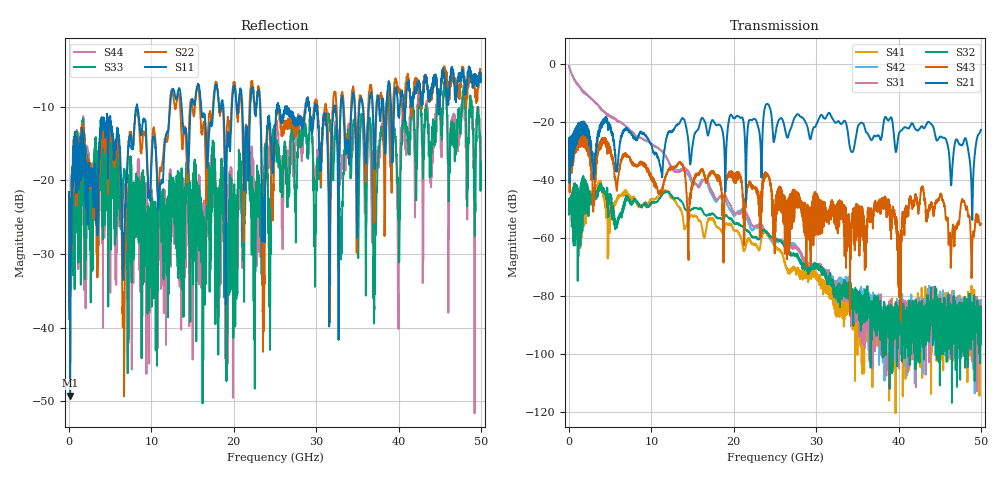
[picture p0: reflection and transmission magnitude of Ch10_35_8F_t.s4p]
!Agilent Technologies,N5247A,US51170199,A.09.90.13
!Agilent N5247A: A.09.90.13
!Date: Wednesday, December 16, 2015 12:31:24
!Correction: S11(Full 4 Port(1,2,3,4))
!S12(Full 4 Port(1,2,3,4))
!S13(Full 4 Port(1,2,3,4))
!S14(Full 4 Port(1,2,3,4))
!S21(Full 4 Port(1,2,3,4))
!S22(Full 4 Port(1,2,3,4))
!S23(Full 4 Port(1,2,3,4))
!S24(Full 4 Port(1,2,3,4))
!S31(Full 4 Port(1,2,3,4))
!S32(Full 4 Port(1,2,3,4))
!S33(Full 4 Port(1,2,3,4))
!S34(Full 4 Port(1,2,3,4))
!S41(Full 4 Port(1,2,3,4))
!S42(Full 4 Port(1,2,3,4))
!S43(Full 4 Port(1,2,3,4))
!S44(Full 4 Port(1,2,3,4))
!S4P File: Measurements: <S11,S12,S13,S14>,
!<S21,S22,S23,S24>,
!<S31,S32,S33,S34>,
!<S41,S42,S43,S44>:
# Hz S  dB  R 50
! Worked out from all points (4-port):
!   3201 points, 10 MHz to 50 GHz, reference 50 ohm
!   strongest paths, dB at 10 MHz, 12.51 GHz, 25 GHz, 37.5 GHz, 50 GHz:
!     S21: -32.5, -23.4, -25.2, -24.7, -22.8
!     S43: -32.8, -35.5, -48.9, -48.5, -55.2
!     S32: -52.0, -45.7, -60.4, -90.5, -88.7
!     S31: -0.9, -36.2, -60.9, -82.0, -93.0
!     S42: -0.9, -35.8, -61.0, -83.9, -81.5
!     S41: -52.0, -46.3, -62.9, -83.2, -90.3
!   lowest |S11| = -49.2 dB at 135 MHz (marker M1), VSWR 1.01, Z = 49.8 + j0.307 ohm
!   |S11| at or under -10 dB: start of sweep to 8.229 GHz; 8.28 GHz to 12.26 GHz (3.985 GHz wide, 38.8 % of centre); 26.46 GHz to 28.7 GHz (2.239 GHz wide, 8.12 % of centre)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
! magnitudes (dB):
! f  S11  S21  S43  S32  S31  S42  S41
! 10 MHz  -21.6  -32.5  -32.8  -52.0  -0.9  -0.9  -52.0
! 135 MHz  -49.2  -32.8  -34.0  -46.9  -2.1  -2.1  -47.0
! 11.84 GHz  -13.6  -25.7  -37.9  -44.3  -32.5  -32.3  -43.9
! 23.63 GHz  -23.8  -17.7  -40.6  -57.2  -57.0  -57.1  -58.4
! 32.41 GHz  -11.2  -20.4  -49.6  -78.7  -80.9  -76.4  -86.8
! 48.92 GHz  -6.1  -50.8  -66.6  -88.5  -92.3  -92.9  -99.7
! 50 GHz  -5.6  -22.8  -55.2  -88.7  -93.0  -81.5  -90.3
